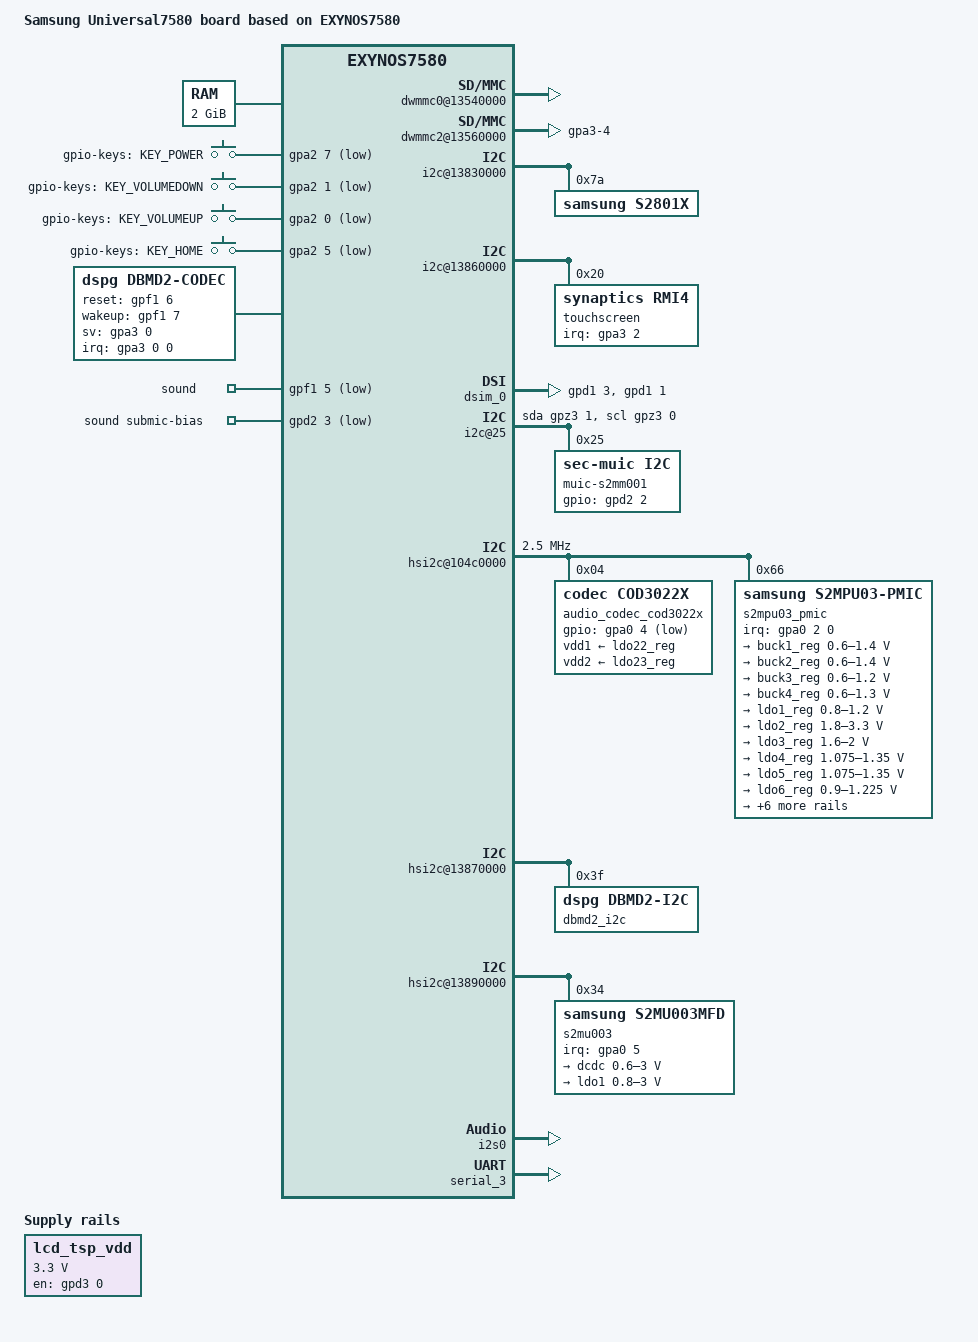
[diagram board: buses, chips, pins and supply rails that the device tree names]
/*
 * SAMSUNG Universal7580 board device tree source
 *
 * Copyright (c) 2014 Samsung Electronics Co., Ltd.
 *		http://www.samsung.com
 *
 * This program is free software; you can redistribute it and/or modify
 * it under the terms of the GNU General Public License version 2 as
 * published by the Free Software Foundation.
 */

/dts-v1/;
#include "exynos7580-q.dtsi"

/ {
	model = "Samsung Universal7580 board based on EXYNOS7580";
	compatible = "samsung,exynos7580-universal7580", "samsung,exynos7580";

	chosen {
		bootargs = "console=ttySAC1,115200n8 ess_setup=0x46000000 pmic_info=0x02 androidboot.hardware=samsungexynos7580";
		linux,initrd-start = <0x42000000>;
		linux,initrd-end = <0x421FFFFF>;
	};

	fixed-rate-clocks {
		oscclk {
			compatible = "samsung,exynos7580-oscclk";
			clock-frequency = <26000000>;
		};
	};

	memory@40000000 {
		device_type = "memory";
		reg = <0x0 0x40000000 0x0 0x80000000>;
	};

	reserved-memory {
		#address-cells = <2>;
		#size-cells = <2>;
		ranges;

		common {
			compatible = "exynos5433-ion,common";
			reg = <0x0 0xbf000000 0x0 0x600000>;
			id = <0>;
		};

		video {
			compatible = "exynos5433-ion,video";
			secure;
			reusable;
			reg = <0x0 0xb9800000 0x0 0x5800000>;
			id = <11>;
			compat-id = <4 5 6 7>;
		};

		video_ext {
			compatible = "exynos5433-ion,video_ext";
			secure;
			reusable;
			reg = <0x0 0xaec00000 0x0 0x1400000>;
			id = <1>;
		};

		mfc_nfw {
			compatible = "exynos5433-ion,mfc_nfw";
			reg = <0x0 0xb9600000 0x0 0x110000>;
			id = <12>;
		};

		mfc_fw {
			compatible = "exynos5433-ion,mfc_fw";
			secure;
			reg = <0x0 0xb9400000 0x0 0x200000>;
			id = <8>;
		};

		secdma {
			compatible = "exynos5433-ion,secdma";
			size = <0 0x20000>;
			alignment = <0 0x10000>;
			id = <13>;
		};
	};

	dwmmc0@13540000 {
		status = "okay";
		num-slots = <1>;
		broken-cd;
		use-smu;
		fixed_volt;
		clock-gate;
		enable-cclk-on-suspend;
		only_once_tune;
		use-fine-tuning;
		ignore-phase = <(1 << 7)>;
		bypass-for-allpass;
		supports-highspeed;
		supports-hs200-mode;
		supports-ddr200-mode;
		enable-cache-control;
		use-enable-shift;
		enable-ulp-mode;
		qos_int_level = <200000>;
		fifo-depth = <0x40>;
		card-detect-delay = <200>;
		samsung,dw-mshc-ciu-div = <3>;
		samsung,dw-mshc-sdr-timing = <3 0 2 0>;
		samsung,dw-mshc-ddr-timing = <3 0 2 2>;
		samsung,dw-mshc-hs200-timing = <3 0 3 0>;
		samsung,dw-mshc-ddr200-timing = <1 0 2 0>;
		samsung,dw-mshc-ddr200-ulp-timing = <3 0 3 0>;
		samsung,dw-mshc-ddr200-delay-line = <0x28>;
		samsung,dw-mshc-ddr200-tx-delay-line = <0x28>;
		samsung,dw-mshc-txdt-crc-timer-fastlimit = <0x34>;
		samsung,dw-mshc-txdt-crc-timer-initval = <0x38>;
		clk_pin = "gpr0-0";
		clk_addr = "13750000.pinctrl";
		clk_val = <0x3>;
		clk_str_num = <6>;
                tp_mon_depth = <2>;
                              /* Byte/s,  MIF clk, CPU clk, KFC clk*/
                tp_mon_table = <8000000 825000  800000  0
                                0       0       0       0>;
		num-ref-clks = <10>;
		ciu_clkin = <25 50 50 100 200 100 200 400 400 200>;
		pinctrl-names = "default";
		pinctrl-0 = <&sd0_clk &sd0_cmd &sd0_rdqs &sd0_bus1 &sd0_bus4 &sd0_bus8>;
		slot@0 {
			reg = <0>;
			bus-width = <8>;
		};
	};

	dwmmc2@13560000 {
		status = "okay";
		num-slots = <1>;
		supports-highspeed;
		enable-cclk-on-suspend;
		cd-type = <1>;
		bypass-smu;
		use-fine-tuning;
		clock-gate;
		fifo-depth = <0x40>;
		card-detect-delay = <200>;
		qos_int_level = <468000>;
		bypass-for-allpass;
		fix-fmp-size-mismatch;
		not-allow-single-dma;
		samsung,dw-mshc-ciu-div = <3>;
		samsung,dw-mshc-sdr-timing = <3 0 3 2>;
		samsung,dw-mshc-ddr-timing = <3 0 2 1>;
		clk_pin = "gpr4-0";
		clk_addr = "10E60000.pinctrl";
		clk_val = <0x2>;
		clk_str_num = <6>;
		num-ref-clks = <8>;
		ciu_clkin = <25 50 50 100 200 100 200 400>;
		pinctrl-names = "default";
		pinctrl-0 = <&sd2_clk &sd2_cmd &sd2_cd &sd2_bus1 &sd2_bus4 &dwmmc2_cd_ext_irq>;
		gpio-controller;
		#gpio-cells = <2>;
		cd-gpio = <&gpa3 4 0xf>;
		slot@0 {
			reg = <0>;
			bus-width = <4>;
			disable-wp;
		};
	};

	gpio_keys{
		compatible = "gpio-keys";
		pinctrl-names = "default";
		pinctrl-0 = <&gpa2_pull_up_univ>;

		button@1 {
			label = "gpio-keys: KEY_POWER";
			interrupt-parent = <&gpa2>;
			linux,code = <116>;
			gpios = <&gpa2 7 0xf>;
			gpio-key,wakeup = <1>;
		};
		button@2 {
			label = "gpio-keys: KEY_VOLUMEDOWN";
			interrupt-parent = <&gpa2>;
			linux,code = <114>;
			gpios = <&gpa2 1 0xf>;
		};
		button@3 {
			label = "gpio-keys: KEY_VOLUMEUP";
			interrupt-parent = <&gpa2>;
			linux,code = <115>;
			gpios = <&gpa2 0 0xf>;
		};
		button@4 {
			label = "gpio-keys: KEY_HOME";
			interrupt-parent = <&gpa2>;
			linux,code = <172>;
			gpios = <&gpa2 5 0xf>;
			gpio-key,wakeup = <1>;
		};
	};

	pinctrl@139B0000 {
		attn_irq: attn-irq {
			samsung,pins = "gpa3-2";
			samsung,pin-function = <0xf>;
			samsung,pin-pud = <0>;
			samsung,pin-drv = <0>;
		};
		attn_input: attn-input {
			samsung,pins = "gpa3-2";
			samsung,pin-function = <0>;
			samsung,pin-pud = <1>;
			samsung,pin-drv = <0>;
		};
		if_irq: if-irq {
			samsung,pins = "gpa0-5";
			samsung,pin-pud = <3>;
			samsung,pin-drv = <3>;
		};
		dwmmc2_cd_ext_irq: dwmmc2_cd_ext_irq {
			samsung,pins = "gpa3-4";
			samsung,pin-function = <0xf>;
			samsung,pin-pud = <3>;
			samsung,pin-drv = <0>;
		};
	};

	pinctrl@138C0000 {
		gpio_cp_reset: gpio_cp_reset {
			samsung,pins = "gpc3-3";
			samsung,pin-function = <0x1>;
			samsung,pin-pud = <3>;
			samsung,pin-drv = <3>;
			samsung,pin-val = <1>;
			samsung,pin-con-pdn = <1>;
		};
	};

	pinctrl@138D0000 {
		i2c_pdn_off: i2c-pdn_off {
			samsung,pins = "gpc4-1", "gpc4-0";
			samsung,pin-con-pdn = <2>;
			samsung,pin-pud-pdn = <1>;
		};
	};

	i2c@13830000 {
		samsung,i2c-sda-delay = <100>;
		samsung,i2c-max-bus-freq = <400000>;
		status = "okay";
		supports-bus-clear;

		s2801x: s2801x@7a {
			compatible = "samsung,s2801x";
			reg = <0x7a>;
			clocks = <&clock 154>,	/* sclk_audmixer */
				 <&clock 155>,	/* sclk_audmixer_bclk0*/
				 <&clock 156>,	/* sclk_audmixer_bclk1 */
				 <&clock 157>,	/* sclk_audmixer_bclk2 */
				 <&clock 152>,	/* bclk_mi2s */
				 <&clock 149>;	/* dout_audmixer*/

			clock-names = "audmixer_sysclk", "audmixer_bclk0",
					"audmixer_bclk1", "audmixer_bclk2",
					"mi2s_bclk", "audmixer_dout";
			sysreg-reset = <0x110F2000>;
			sysreg-i2c = <0x110F3000>;
			pinctrl-names = "default", "idle", "bt-idle";
			pinctrl-0 = <&i2s_pmic_bus
					&i2s_codec_clk
					&pcm_bt_bus>;
			pinctrl-1 = <&i2s_pmic_bus_idle
					&i2s_codec_clk_idle
					&pcm_bt_bus_idle>;
			pinctrl-2 = <&i2s_pmic_bus
					&i2s_codec_clk
					&pcm_bt_bus_idle>;
			samsung,lpass-subip;
		};
	};

	i2c@13860000 {
		samsung,i2c-sda-delay = <100>;
		samsung,i2c-max-bus-freq = <400000>;
		status = "okay";

		touchscreen@20 {
			compatible = "synaptics,rmi4";
			reg = <0x20>;
			pinctrl-names = "on_state", "off_state";
			pinctrl-0 = <&attn_irq>;
			pinctrl-1 = <&attn_input &i2c_pdn_off>;
			synaptics,irq_gpio = <&gpa3 2 0>;
			synaptics,irq_type = <8200>;
			synaptics,max_coords = <1079 1919>;	/* x y */
			synaptics,num_lines = <29 16>;		/* rx tx */
			synaptics,regulator_dvdd = "lcd_tsp_vdd";
			synaptics,regulator_avdd = "tsp_avdd";
			synaptics,project_name = "";
		};
	};

	ion {
		compatible = "samsung,exynos5430-ion";
	};

	decon_fb@14830000 {
		/* XEINT7, GPIO & pin control */
		gpios = <&gpd0 7 0xf>;
		psr_mode = <2>;		/* 0: video mode, 1: DP command mode, 2: MIPI command mode */
		disp-pll-clk = <142000000>;
		status = "okay";
	};

	dsim_0: dsim@14800000 {
		lcd_info = <&s6e3fa2>;
		/* lcd reset, power */
		gpios = <&gpd1 3 0x1>, <&gpd1 1 0x1>;
		lcd_vdd = "lcd_tsp_vdd";
		status = "okay";
	};

	s6e3fa2: s6e3fa2_fhd {
		mode = <2>;
		resolution = <1080 1920>;
		size = <70 121>;
		timing,refresh = <60>;
		timing,h-porch = <10 10 10>;
		timing,v-porch = <4 3 1>;
		timing,dsi-hs-clk = <1092>;
		timing,dsi-escape-clk = <19>;
		mic = <0>;
	};

	usb_notifier {
		compatible = "samsung,usb-notifier";
	};

	i2c@25 {
		compatible = "i2c-gpio";
		gpios = <&gpz3 1 0
			&gpz3 0 0>;
		i2c-gpio,delay-us = <5>;
		#address-cells = <1>;
		#size-cells = <0>;
		status = "okay";
		muic-s2mm001@25 {
			compatible = "sec-muic,i2c";
			reg = <0x25>;
			pinctrl-names = "default";
			muic,muic_int = <&gpa1 3 0>;
			gpios = <&gpd2 2 0>;
		};
	};

	pinctrl@139B0000 {
		pmic_irq: pmic-irq {
			samsung,pins = "gpa0-2";
			samsung,pin-pud = <3>;
			samsung,pin-drv = <3>;
		};
		cod3022_irq: cod3022-irq {
                        samsung,pins = "gpa0-4";
                        samsung,pin-pud = <3>;
                        samsung,pin-drv = <3>;
                };
	};

	pinctrl@138C0000 {
		/* Warm reset information from AP */
		pm_wrsti: pm-wrsti {
			samsung,pins = "gpc3-2";
			samsung,pin-con-pdn = <3>;
		};
	};

	hsi2c@104c0000 {
		status = "okay";
		samsung,hs-mode;
		clock-frequency = <2500000>;
		samsung,hsi2c-batcher;
		#address-cells = <1>;
		#size-cells = <0>;

		audio_codec_cod3022x: cod3022x@04 {
			compatible = "codec,cod3022x";
			reg = <0x04>;
			ten-bit-address;
			vdd1-supply = <&ldo22_reg>;
			vdd2-supply = <&ldo23_reg>;
			pinctrl-names = "default";
			pinctrl-0 = <&cod3022_irq>;
			interrupt-parent = <&gpa0>;
			gpios = <&gpa0 4 0xf>;
			/* Mic Bias: 0->2.1v, 1->2.5v, 2->2.6v, 3->3.0v */
			mic-bias1-voltage = <3>;
			mic-bias2-voltage = <3>;
		};

		s2mpu03_pmic@66 {
			compatible = "samsung,s2mpu03-pmic";
			reg = <0x66>;
			ten-bit-address;
			interrupts = <2 0 0>;
			interrupt-parent = <&gpa0>;
			pinctrl-names = "default";
			pinctrl-0 = <&pmic_irq &pm_wrsti>;
			g3d_en = <1>; /* 1 : enable , 0 : disable */
			buck4en_pin = "etc1-3";
			buck4en_addr = "139B0080.pinctrl";
			/* RTC: wtsr/smpl */
			wtsr_en = <1>; /* enable */
			smpl_en = <1>; /* enable */
			wtsr_timer_val = <3>;   /* 1000ms */
			smpl_timer_val = <4>;   /* 500ms */
			check_jigon = <0>; /* do not check jigon */
			/* RTC: If it's first boot, reset rtc to 1/1/2014 12:00:00(Wed) */
			init_time,sec = <0>;
			init_time,min = <0>;
			init_time,hour = <12>;
			init_time,mday = <1>;
			init_time,mon = <0>;
			init_time,year = <114>;
			init_time,wday = <3>;

			regulators {
				buck1_reg: BUCK1 {
					regulator-name = "cpu-cluster.1";
					regulator-min-microvolt = <600000>;
					regulator-max-microvolt = <1400000>;
					regulator-always-on;
					regulator-boot-on;
					regulator-ramp-delay = <12000>;
					regulator-initial-mode = <1>;
				};

				buck2_reg: BUCK2 {
					regulator-name = "cpu-cluster.0";
					regulator-min-microvolt = <600000>;
					regulator-max-microvolt = <1400000>;
					regulator-always-on;
					regulator-boot-on;
					regulator-ramp-delay = <12000>;
					regulator-initial-mode = <1>;
				};

				buck3_reg: BUCK3 {
					regulator-name = "vdd_intmif";
					regulator-min-microvolt = <600000>;
					regulator-max-microvolt = <1200000>;
					regulator-always-on;
					regulator-boot-on;
					regulator-ramp-delay = <12000>;
					regulator-initial-mode = <1>;
				};

				buck4_reg: BUCK4 {
					regulator-name = "vdd_g3d";
					regulator-min-microvolt = <600000>;
					regulator-max-microvolt = <1300000>;
					regulator-always-on;
					regulator-boot-on;
					regulator-ramp-delay = <12000>;
					regulator-initial-mode = <1>;
				};

				ldo1_reg: LDO1 {
					regulator-name = "vdd_ldo1";
					regulator-min-microvolt = <800000>;
					regulator-max-microvolt = <1200000>;
					regulator-always-on;
					regulator-ramp-delay = <12000>;
					regulator-initial-mode = <3>;
				};

				ldo2_reg: LDO2 {
					regulator-name = "vqmmc";
					regulator-min-microvolt = <1800000>;
					regulator-max-microvolt = <3300000>;
					regulator-boot-on;
					regulator-always-on;
					regulator-ramp-delay = <12000>;
					regulator-initial-mode = <1>;
				};

				ldo3_reg: LDO3 {
					regulator-name = "vdd_ldo3";
					regulator-min-microvolt = <1600000>;
					regulator-max-microvolt = <2000000>;
					regulator-boot-on;
					regulator-always-on;
					regulator-ramp-delay = <12000>;
					regulator-initial-mode = <3>;
				};

				ldo4_reg: LDO4 {
					regulator-name = "vdd_ldo4";
					regulator-min-microvolt = <1075000>;
					regulator-max-microvolt = <1350000>;
					regulator-boot-on;
					regulator-always-on;
					regulator-ramp-delay = <12000>;
					regulator-initial-mode = <1>;
				};

				ldo5_reg: LDO5 {
					regulator-name = "vdd_ldo5";
					regulator-min-microvolt = <1075000>;
					regulator-max-microvolt = <1350000>;
					regulator-boot-on;
					regulator-always-on;
					regulator-ramp-delay = <12000>;
					regulator-initial-mode = <3>;
				};

				ldo6_reg: LDO6 {
					regulator-name = "vdd_ldo6";
					regulator-min-microvolt = <900000>;
					regulator-max-microvolt = <1225000>;
					regulator-boot-on;
					regulator-always-on;
					regulator-ramp-delay = <12000>;
					regulator-initial-mode = <1>;
				};

				ldo7_reg: LDO7 {
					regulator-name = "vdd_ldo7";
					regulator-min-microvolt = <1600000>;
					regulator-max-microvolt = <2000000>;
					regulator-boot-on;
					regulator-always-on;
					regulator-initial-mode = <1>;
				};

				ldo8_reg: LDO8 {
					regulator-name = "vdd_ldo8";
					regulator-min-microvolt = <2250000>;
					regulator-max-microvolt = <3300000>;
					regulator-boot-on;
					regulator-always-on;
					regulator-initial-mode = <1>;
				};

				ldo10_reg: LDO10 {
					regulator-name = "vdd_ldo10";
					regulator-min-microvolt = <800000>;
					regulator-max-microvolt = <1350000>;
					regulator-always-on;
					regulator-initial-mode = <1>;
				};

				ldo22_reg: LDO22 {
					regulator-name = "codec_ldo22";
					regulator-min-microvolt = <1000000>;
					regulator-max-microvolt = <2375000>;
					regulator-initial-mode = <1>;
				};

				ldo23_reg: LDO23 {
					regulator-name = "codec_ldo23";
					regulator-min-microvolt = <1000000>;
					regulator-max-microvolt = <2375000>;
					regulator-initial-mode = <1>;
				};

				ldo33_reg: LDO33 {
					regulator-name = "tsp_avdd";
					regulator-min-microvolt = <1800000>;
					regulator-max-microvolt = <3375000>;
					regulator-always-on;
					regulator-initial-mode = <1>;
				};

			};
		};
	};

	lcd_tsp_vdd: gpio-regulator {
		compatible = "regulator-fixed";

		regulator-name = "lcd_tsp_vdd";
		regulator-min-microvolt = <3300000>;
		regulator-max-microvolt = <3300000>;

		gpio = <&gpd3 0 0x1>;
		regulator-always-on;

		startup-delay-us = <100000>;
		enable-active-high;
	};

	dbmd2 {
		status = "okay";
		compatible = "dspg,dbmd2-codec";
		reset-gpio = <&gpf1 6 0>;
		wakeup-gpio = <&gpf1 7 0>;
		sv-gpio = <&gpa3 0 0>;

		/* auto_buffering = <1>; */
		/* buffer_size = <96000>; */
		/* audio_mode = <0>; */
		cmd-interface = <&dbmd2_i2c>;
		/* feature-va; */ /* enable VA */
		feature-vqe; /* enable VQE */
		/* feature-firmware-overlay; */
		/* va-firmware-name = "dbmd2_va_fw_i2c.bin"; */
		vqe-firmware-name = "dbmd2_vqe_fw_i2c.bin";
		/* vqe-non-overlay-firmware-name = "dbmd2_vqe_non_overlay_fw_i2c.bin"; */

		va-config = <0x80220537
			     0x80100000
			     0x801b0020
			     0x80210000>;
		va-speeds = <0x0000 57600 0 0
			     0x0000 1000000 0 0
			     0x0000 1000000 0 0>;

		va-mic-config = <0x000 0x000 0x0005>;
		va-mic-mode = <4>;
		/* vqe-config = < >; */
		fast-clk-rate = <24000000>;
		slow-clk-rate = <32768>;
		auto_detection = <1>;

		interrupts = <0 0 0>;
		interrupt-parent = <&gpa3>;

		gpio-controller;
		#gpio-cells = <2>;

		pinctrl-names = "default";
		pinctrl-0 = <&dbmd_reset &dbmd_wakeup &dbmd_sensory>;
	};

	hsi2c@13870000 {
		status = "okay";
		dbmd2_i2c: dbmd2_interface@3f {
			status = "okay";
			compatible = "dspg,dbmd2-i2c";
			reg = <0x3f>;
		};
	};

	hsi2c@13890000 {
		status = "okay";
		s2mu003@34 {
			compatible = "samsung,s2mu003mfd";
			reg = <0x34>;
			pinctrl-names = "default";
			pinctrl-0 = <&if_irq>;
			s2mu003,irq-gpio = <&gpa0 5 0>;

			regulators {
				s2mu003-buck1 {
					regulator-name = "dcdc";
					regulator-min-microvolt = <600000>;
					regulator-max-microvolt = <3000000>;
					regulator-always-on;
					regulator-boot-on;
				};
				s2mu003-ldo1 {
					regulator-name = "ldo1";
					regulator-min-microvolt = <800000>;
					regulator-max-microvolt = <3000000>;
					regulator-always-on;
					regulator-boot-on;
				};
			};

			leds {
				torch-gpio = <&gpe0 1 0>;
				flash-gpio = <&gpe0 2 0>;

				status = "okay";
				s2mu003-leds1 {
					ledname = "leds-sec1";
					id = <0>;
					brightness = <0x17>;
					timeout = <0x0>;
					max-brightness = <0x15>;
				};

				s2mu003-leds2 {
					ledname = "leds-sec2";
					id = <1>;
					brightness = <0x02>;
					timeout = <0x0>;
					max-brightness = <0xf>;
				};
			};
		};
	};

	i2s0: i2s@11040000 {
		status = "okay";
	};

	audio_cp_dummy: cp_dummy {
		compatible = "samsung,cp_dummy";
		status = "okay";
	};

	audio_bt_dummy: bt_dummy {
		compatible = "samsung,bt_dummy";
		status = "okay";
	};

	audio_codec_dummy: dummy-codec {
		compatible = "samsung,dummy-codec";
		status = "okay";
	};

	sound {
		compatible = "samsung,universal7580-cod3022x";
		samsung,audio-cpu = <&i2s0	/* primary */
					&i2s0	/* secondary */
					&audio_cp_dummy
					&audio_bt_dummy>;
		samsung,audio-codec = <&audio_codec_cod3022x
					&audio_codec_cod3022x
					&audio_codec_cod3022x
					&audio_codec_dummy>;
		samsung,auxdev = <&s2801x>;
		gpios = <&gpf1 5 0x1>;
		submic-bias-gpio = <&gpd2 3 0x1>;
		samsung,codec-uses-i2scdclk;
		clocks = <&clock 151>;		 /* sclk_i2s */
		clock-names = "codec_bclk";
		pinctrl-names = "default";
		pinctrl-0 = <&sub_mic_bias_en>;
		status = "okay";
	};

	serial_3: uart@11060000 {
		/* Enable AUD-UART for Bluetooth */
		status = "okay";
	};

	pinctrl@139C0000 {
		dbmd_wakeup: dbmd-wakeup {
			samsung,pins ="gpf1-7";
			samsung,pin-function = <1>;
			samsung,pin-pud = <1>;
			samsung,pin-con-pdn =<3>;
			samsung,pin-pud-pdn = <1>;
			samsung,pin-val = <0>;
		};
		dbmd_reset: dbmd-reset {
			samsung,pins ="gpf1-6";
			samsung,pin-function = <1>;
			samsung,pin-pud = <1>;
			samsung,pin-con-pdn =<3>;
			samsung,pin-pud-pdn = <1>;
			samsung,pin-val = <0>;
		};
		sub_mic_bias_en:sub-mic-bias-en {
			samsung,pins ="gpd2-3";
			samsung,pin-function = <1>;
			samsung,pin-pud = <0>;
			samsung,pin-con-pdn = <3>;
			samsung,pin-pud-pdn = <0>;
			samsung,pin-val = <0>;
		};
	};
	pinctrl@139B0000 {
		dbmd_sensory: dbmd-sensory {
			samsung,pins = "gpa3-0";
			samsung,pin-function = <0xf>;
			samsung,pin-pud = <0>;
		};
	};
};

#include "exynos7580-carmen2_battery.dtsi"
